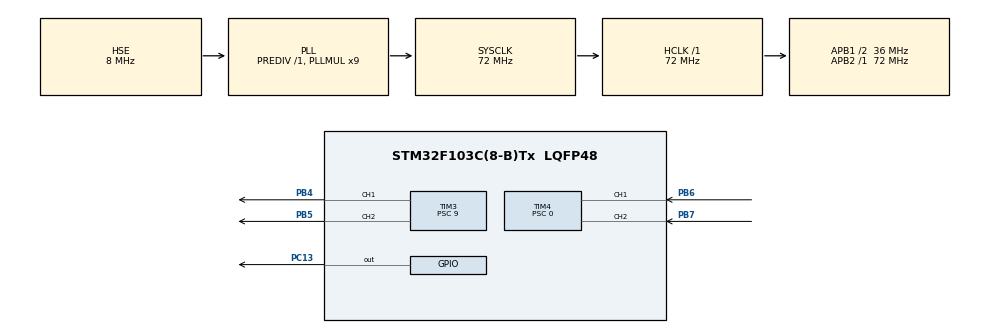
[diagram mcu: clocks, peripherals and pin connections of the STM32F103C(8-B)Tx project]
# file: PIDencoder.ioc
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Mcu.Family=STM32F1
Mcu.Name=STM32F103C(8-B)Tx
Mcu.Package=LQFP48
NVIC.PriorityGroup=NVIC_PRIORITYGROUP_4
NVIC.RCC_IRQn=true\:0\:0\:false\:false\:true\:true\:false\:true
NVIC.TIM2_IRQn=true\:0\:0\:false\:false\:true\:true\:true\:true
PA13.Mode=Serial_Wire
PA13.Signal=SYS_JTMS-SWDIO
PA14.Mode=Serial_Wire
PA14.Signal=SYS_JTCK-SWCLK
PB4.Signal=S_TIM3_CH1
PB5.Signal=S_TIM3_CH2
PB6.Signal=S_TIM4_CH1
PB7.Signal=S_TIM4_CH2
PC13-TAMPER-RTC.Signal=GPIO_Output
PD0-OSC_IN.Mode=HSE-External-Oscillator
PD0-OSC_IN.Signal=RCC_OSC_IN
PD1-OSC_OUT.Mode=HSE-External-Oscillator
PD1-OSC_OUT.Signal=RCC_OSC_OUT
ProjectManager.HeapSize=0x200
ProjectManager.StackSize=0x400
ProjectManager.TargetToolchain=STM32CubeIDE
RCC.AHBFreq_Value=72000000
RCC.APB1CLKDivider=RCC_HCLK_DIV2
RCC.APB1Freq_Value=36000000
RCC.APB1TimFreq_Value=72000000
RCC.APB2Freq_Value=72000000
RCC.APB2TimFreq_Value=72000000
RCC.HCLKFreq_Value=72000000
RCC.PLLMUL=RCC_PLL_MUL9
RCC.PLLSourceVirtual=RCC_PLLSOURCE_HSE
RCC.SYSCLKFreq_VALUE=72000000
RCC.SYSCLKSource=RCC_SYSCLKSOURCE_PLLCLK
RCC.USBFreq_Value=72000000
SH.S_TIM3_CH1.0=TIM3_CH1,PWM Generation1 CH1
SH.S_TIM3_CH2.0=TIM3_CH2,PWM Generation2 CH2
SH.S_TIM4_CH1.0=TIM4_CH1,Encoder_Interface
SH.S_TIM4_CH2.0=TIM4_CH2,Encoder_Interface
TIM2.AutoReloadPreload=TIM_AUTORELOAD_PRELOAD_ENABLE
TIM2.Period=999
TIM2.Prescaler=71
TIM3.AutoReloadPreload=TIM_AUTORELOAD_PRELOAD_ENABLE
TIM3.Channel-PWM\ Generation1\ CH1=TIM_CHANNEL_1
TIM3.Channel-PWM\ Generation2\ CH2=TIM_CHANNEL_2
TIM3.Period=410
TIM3.Prescaler=9
TIM4.AutoReloadPreload=TIM_AUTORELOAD_PRELOAD_ENABLE
TIM4.EncoderMode=TIM_ENCODERMODE_TI12
TIM4.IC1Filter=10
TIM4.Period=65535
TIM4.Prescaler=0
VP_TIM2_VS_ClockSourceINT.Mode=Internal
VP_TIM3_VS_ClockSourceINT.Mode=Internal
board=custom

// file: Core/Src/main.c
/* USER CODE BEGIN Header */
/**
  ******************************************************************************
  * @file           : main.c
  * @brief          : Main program body
  ******************************************************************************
  * @attention
  *
  * Copyright (c) 2022 STMicroelectronics.
  * All rights reserved.
  *
  * This software is licensed under terms that can be found in the LICENSE file
  * in the root directory of this software component.
  * If no LICENSE file comes with this software, it is provided AS-IS.
  *
  ******************************************************************************
  */
/* USER CODE END Header */
#include "main.h"
#include "tim.h"
#include "gpio.h"

/* USER CODE BEGIN Includes */
#include "PID.h"
#include "stdio.h"
/* USER CODE END Includes */

/* USER CODE BEGIN PTD */
PIDController MPID;
/* USER CODE END PTD */

/* USER CODE BEGIN PV */
uint16_t count;
uint32_t t_new;
uint32_t diff;
float speedM;
float rdps;
#define Ki 651.8
#define Kp 8.687
#define Kd 0.0
#define pi 3.1415
#define N 1300
volatile uint8_t count_state;
float cnt_test;

uint16_t new_count;
uint16_t count;
uint8_t counter=0;

float speed;
uint8_t dir;
float feedback_speed;
float Sam_time= 20; // 20ms
float pwm;
float V_reference;

/* USER CODE END PV */

void SystemClock_Config(void);

/* USER CODE BEGIN 0 */
int _write(int file, char *ptr, int len){
	int i=0;
	for(i=0; i<len; i++)
		ITM_SendChar((*ptr++));
	return len;
}
float Motors_RP(float SampleTime, float N_round)
{
	new_count = TIM4->CNT;

	count_state = __HAL_TIM_IS_TIM_COUNTING_DOWN(&htim4);

	if (count_state)
	{
		if (new_count <= count)
		{ // Check for counter underflow
			diff = count - new_count;
		}
		else
		{
			diff = (65536 - new_count) + count;
		}
		speedM = (float)diff * 1000.0f / (N_round * SampleTime) * -1.0;
	}
	else
	{
		if (new_count >= count)
		{ // Check for counter overflow
			diff = new_count - count;
		}
		else
		{
			diff = (65536 - count) + new_count;
		}
		speedM = (float)diff * 1000.0f / (N_round* SampleTime);
	}

	rdps = -2.0f * pi * speedM;
	count = new_count;

	return rdps;
}
/* USER CODE END 0 */

int main(void)
{
  /* USER CODE BEGIN 1 */
	PIDController_Init(&MPID);
	//MPID.Kp = 4.156;
	//MPID.Ki = 325.9;
	MPID.T = 0.01;
	MPID.limMax = 1000;
	MPID.limMin = -1000;
	MPID.limMaxInt = 1000;
	MPID.limMinInt = -1000;
  /* USER CODE END 1 */

  /* MCU Configuration--------------------------------------------------------*/

  /* Reset of all peripherals, Initializes the Flash interface and the Systick. */
  HAL_Init();

  /* Configure the system clock */
  SystemClock_Config();

  /* Initialize all configured peripherals */
  MX_GPIO_Init();
  MX_TIM2_Init();
  MX_TIM3_Init();
  MX_TIM4_Init();
  /* USER CODE BEGIN 2 */
  HAL_TIM_Encoder_Start(&htim4, TIM_CHANNEL_ALL);
  HAL_TIM_Base_Start_IT(&htim2);

  HAL_TIM_PWM_Start(&htim3, TIM_CHANNEL_1);
  HAL_TIM_PWM_Start(&htim3, TIM_CHANNEL_2);
  /* USER CODE END 2 */

  /* Infinite loop */
  while (1)
  {

    /* USER CODE BEGIN 3 */
      printf("The value of counter is : %d \r\n", counter);
	  counter++;
	  HAL_Delay(100);

  }
  /* USER CODE END 3 */
}

void SystemClock_Config(void)
{
  RCC_OscInitTypeDef RCC_OscInitStruct = {0};
  RCC_ClkInitTypeDef RCC_ClkInitStruct = {0};

  /** Initializes the RCC Oscillators according to the specified parameters
  * in the RCC_OscInitTypeDef structure.
  */
  RCC_OscInitStruct.OscillatorType = RCC_OSCILLATORTYPE_HSE;
  RCC_OscInitStruct.HSEState = RCC_HSE_ON;
  RCC_OscInitStruct.HSEPredivValue = RCC_HSE_PREDIV_DIV1;
  RCC_OscInitStruct.HSIState = RCC_HSI_ON;
  RCC_OscInitStruct.PLL.PLLState = RCC_PLL_ON;
  RCC_OscInitStruct.PLL.PLLSource = RCC_PLLSOURCE_HSE;
  RCC_OscInitStruct.PLL.PLLMUL = RCC_PLL_MUL9;
  if (HAL_RCC_OscConfig(&RCC_OscInitStruct) != HAL_OK)
  {
    Error_Handler();
  }

  /** Initializes the CPU, AHB and APB buses clocks
  */
  RCC_ClkInitStruct.ClockType = RCC_CLOCKTYPE_HCLK|RCC_CLOCKTYPE_SYSCLK
                              |RCC_CLOCKTYPE_PCLK1|RCC_CLOCKTYPE_PCLK2;
  RCC_ClkInitStruct.SYSCLKSource = RCC_SYSCLKSOURCE_PLLCLK;
  RCC_ClkInitStruct.AHBCLKDivider = RCC_SYSCLK_DIV1;
  RCC_ClkInitStruct.APB1CLKDivider = RCC_HCLK_DIV2;
  RCC_ClkInitStruct.APB2CLKDivider = RCC_HCLK_DIV1;

  if (HAL_RCC_ClockConfig(&RCC_ClkInitStruct, FLASH_LATENCY_2) != HAL_OK)
  {
    Error_Handler();
  }
}

/* USER CODE BEGIN 4 */
void HAL_TIM_PeriodElapsedCallback(TIM_HandleTypeDef* htim)
{
	if (htim->Instance==TIM2)
	{
		pwm=PIDController_Update(&MPID, 0.5, rdps, Kp, Ki, Kd);
		TIM3->CCR1 = 0;
		TIM3->CCR2 = pwm;
		rdps=Motors_RP(20, N);
	}
}
/* USER CODE END 4 */

void Error_Handler(void)
{
  __disable_irq();
  while (1)
  {
  }
}
